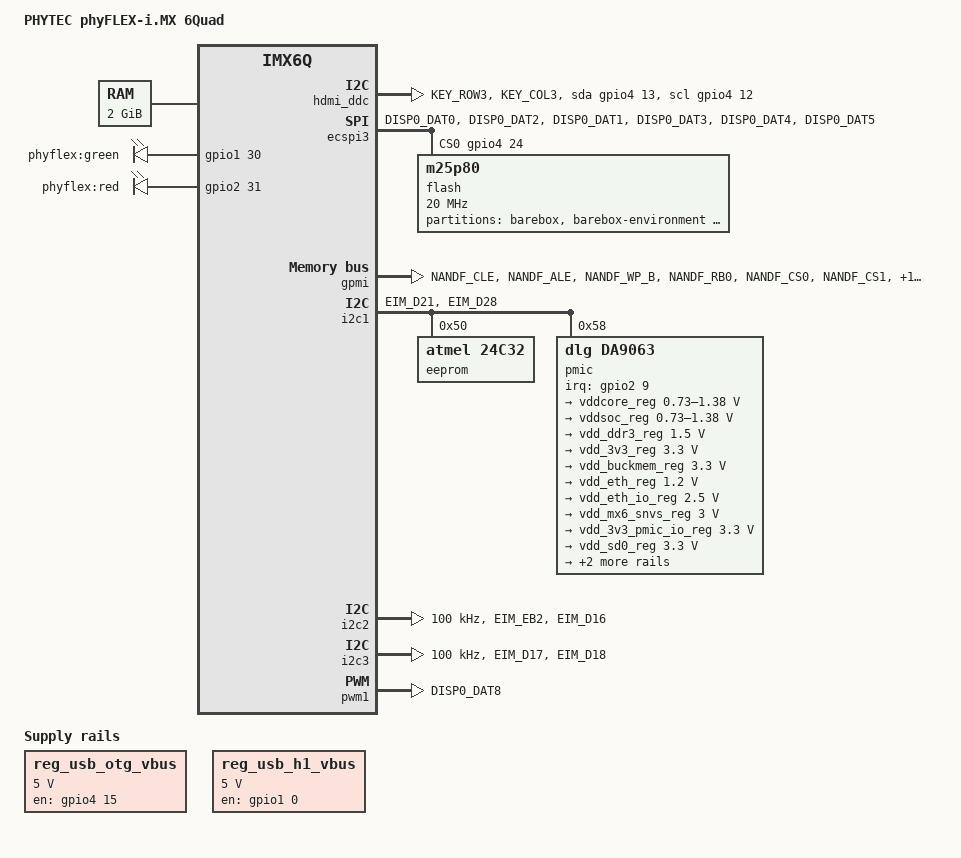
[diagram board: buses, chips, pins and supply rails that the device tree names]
// SPDX-License-Identifier: (GPL-2.0+ OR MIT)
/*
 * Copyright (C) 2018 PHYTEC Messtechnik GmbH
 * Author: Christian Hemp <c.hemp@phytec.de>
 */

#include <dt-bindings/gpio/gpio.h>

/ {
	model = "PHYTEC phyFLEX-i.MX 6Quad";
	compatible = "phytec,imx6q-pfla02", "fsl,imx6q";

	memory@10000000 {
		/*
		 * Set the minimum memory size here and
		 * let the bootloader set the real size.
		 */
		device_type = "memory";
		reg = <0x10000000 0x80000000>; /* 128 MiB memory */
		
	};

	aliases {
		i2c3 = &hdmi_ddc;
		rtc1 = &pmic;
		rtc2 = &snvs_rtc;
	};

	reg_usb_otg_vbus: regulator-usbotg-vbus {
		compatible = "regulator-fixed";
		regulator-name = "usb_otg_vbus";
		regulator-min-microvolt = <5000000>;
		regulator-max-microvolt = <5000000>;
		gpio = <&gpio4 15 0>;
		enable-active-high;
	};

	reg_usb_h1_vbus: regulator-usbh1-vbus {
		compatible = "regulator-fixed";
		regulator-name = "usb_h1_vbus";
		regulator-min-microvolt = <5000000>;
		regulator-max-microvolt = <5000000>;
		gpio = <&gpio1 0 0>;
		enable-active-high;
	};

	gpio_leds: leds {
		compatible = "gpio-leds";

		green {
			label = "phyflex:green";
			gpios = <&gpio1 30 0>;
		};

		red {
			label = "phyflex:red";
			gpios = <&gpio2 31 0>;
			linux,default-trigger = "heartbeat";
		};
	};

	hdmi_ddc: i2c-gpio-0 {
		compatible = "i2c-gpio";
		gpios = <&gpio4 13 0 /* sda */
			 &gpio4 12 0 /* scl */
			>;
		i2c-gpio,delay-us = <2>;
		#address-cells = <1>;
		#size-cells = <0>;
		pinctrl-names = "default";
		pinctrl-0 = <&pinctrl_i2c_gpio>;
		status = "okay";
	};
};

&audmux {
	pinctrl-names = "default";
	pinctrl-0 = <&pinctrl_audmux>;
	status = "disabled";
};

&can1 {
	pinctrl-names = "default";
	pinctrl-0 = <&pinctrl_flexcan1>;
	status = "disabled";
};

&cpu0 {
	fsl,tol = <5000>;
	arm-supply = <&vddcore_reg>;
	soc-supply = <&vddsoc_reg>;
};

/* SPI0 on module */
&ecspi3 {
	pinctrl-names = "default";
	pinctrl-0 = <&pinctrl_ecspi3>;
	status = "okay";
	fsl,spi-num-chipselects = <3>;
	cs-gpios = <&gpio4 24 GPIO_ACTIVE_HIGH
		&gpio4 25 GPIO_ACTIVE_HIGH
		&gpio4 26 GPIO_ACTIVE_HIGH>;

	flash@0 {
		compatible = "m25p80";
		spi-max-frequency = <20000000>;
		reg = <0>;

		#address-cells = <1>;
		#size-cells = <1>;

		partition@0 {
			label = "barebox";
			reg = <0x0 0x100000>;
		};

		partition@1 {
			label = "barebox-environment";
			reg = <0x100000 0x20000>;
		};

		partition@2 {
			label = "oftree";
			reg = <0x120000 0x20000>;
		};

		partition@3 {
			label = "kernel";
			reg = <0x140000 0x0>;
		};
	};
};

&fec {
	pinctrl-names = "default";
	pinctrl-0 = <&pinctrl_enet>;
	phy-handle = <&ethphy>;
	phy-mode = "rgmii";
	phy-reset-duration = <10>; /* in msecs */
	phy-reset-gpios = <&gpio3 23 GPIO_ACTIVE_LOW>;
	phy-reset-duration = <10>; /* in msecs */
	phy-supply = <&vdd_eth_io_reg>;
	status = "disabled";

	mdio {
		#address-cells = <1>;
		#size-cells = <0>;

		ethphy: ethernet-phy@3 {
			reg = <3>;
			txc-skew-ps = <1680>;
			rxc-skew-ps = <1860>;
		};
	};
};

&gpmi {
	pinctrl-names = "default";
	pinctrl-0 = <&pinctrl_gpmi_nand>;
	nand-on-flash-bbt;
	status = "okay";

	#address-cells = <1>;
	#size-cells = <1>;

	partition@0 {
		label = "barebox";
		reg = <0x0 0x400000>;
	};

	partition@1 {
		label = "barebox-environment";
		reg = <0x400000 0x100000>;
	};

	partition@2 {
		label = "root";
		reg = <0x500000 0x0>;
	};
};

/* i2c bus is on module only */
&i2c1 {
	pinctrl-names = "default";
	pinctrl-0 = <&pinctrl_i2c1>;
	status = "okay";

	eeprom: eeprom@50 {
		compatible = "atmel,24c32";
		reg = <0x50>;
	};

	pmic: pmic@58 {
		compatible = "dlg,da9063";
		reg = <0x58>;
		interrupt-parent = <&gpio2>;
		interrupts = <9 IRQ_TYPE_LEVEL_LOW>; /* active-low GPIO2_9 */

		regulators {
			vddcore_reg: bcore1 {
				regulator-min-microvolt = <730000>;
				regulator-max-microvolt = <1380000>;
				regulator-always-on;
			};

			vddsoc_reg: bcore2 {
				regulator-min-microvolt = <730000>;
				regulator-max-microvolt = <1380000>;
				regulator-always-on;
			};

			vdd_ddr3_reg: bpro {
				regulator-min-microvolt = <1500000>;
				regulator-max-microvolt = <1500000>;
				regulator-always-on;
			};

			vdd_3v3_reg: bperi {
				regulator-min-microvolt = <3300000>;
				regulator-max-microvolt = <3300000>;
				regulator-always-on;
			};

			vdd_buckmem_reg: bmem {
				regulator-min-microvolt = <3300000>;
				regulator-max-microvolt = <3300000>;
				regulator-always-on;
			};

			vdd_eth_reg: bio {
				regulator-min-microvolt = <1200000>;
				regulator-max-microvolt = <1200000>;
				regulator-always-on;
			};

			vdd_eth_io_reg: ldo4 {
				regulator-min-microvolt = <2500000>;
				regulator-max-microvolt = <2500000>;
				regulator-always-on;
			};

			vdd_mx6_snvs_reg: ldo5 {
				regulator-min-microvolt = <3000000>;
				regulator-max-microvolt = <3000000>;
				regulator-always-on;
			};

			vdd_3v3_pmic_io_reg: ldo6 {
				regulator-min-microvolt = <3300000>;
				regulator-max-microvolt = <3300000>;
				regulator-always-on;
			};

			vdd_sd0_reg: ldo9 {
				regulator-min-microvolt = <3300000>;
				regulator-max-microvolt = <3300000>;
				regulator-always-on;
			};

			vdd_sd1_reg: ldo10 {
				regulator-min-microvolt = <3300000>;
				regulator-max-microvolt = <3300000>;
			};

			vdd_mx6_high_reg: ldo11 {
				regulator-min-microvolt = <3000000>;
				regulator-max-microvolt = <3000000>;
				regulator-always-on;
			};
		};

		wdt {
			/* Watchdog also used as the system reset handler */
			compatible = "dlg,da9063-watchdog";
		};
	};
};

/* I2C0 on module and connector */
&i2c2 {
	pinctrl-names = "default";
	pinctrl-0 = <&pinctrl_i2c2>;
	clock-frequency = <100000>;
};

/* I2C1 on module and connector */
&i2c3 {
	pinctrl-names = "default";
	pinctrl-0 = <&pinctrl_i2c3>;
	clock-frequency = <100000>;
};

&iomuxc {
	pinctrl-names = "default";
	pinctrl-0 = <&pinctrl_hog>;

	imx6q-phytec-pfla02 {
		pinctrl_cam0data: cam0datagrp {
			fsl,pins = <
				MX6QDL_PAD_CSI0_DAT4__IPU1_CSI0_DATA04	0x0001B0B0
				MX6QDL_PAD_CSI0_DAT5__IPU1_CSI0_DATA05	0x0001B0B0
				MX6QDL_PAD_CSI0_DAT6__IPU1_CSI0_DATA06	0x0001B0B0
				MX6QDL_PAD_CSI0_DAT7__IPU1_CSI0_DATA07	0x0001B0B0
				MX6QDL_PAD_CSI0_DAT8__IPU1_CSI0_DATA08	0x0001B0B0
				MX6QDL_PAD_CSI0_DAT9__IPU1_CSI0_DATA09	0x0001B0B0
				MX6QDL_PAD_CSI0_DAT10__IPU1_CSI0_DATA10	0x0001B0B0
				MX6QDL_PAD_CSI0_DAT11__IPU1_CSI0_DATA11	0x0001B0B0
				MX6QDL_PAD_CSI0_DAT12__IPU1_CSI0_DATA12	0x0001B0B0
				MX6QDL_PAD_CSI0_DAT13__IPU1_CSI0_DATA13	0x0001B0B0
				MX6QDL_PAD_CSI0_DAT14__IPU1_CSI0_DATA14	0x0001B0B0
				MX6QDL_PAD_CSI0_DAT15__IPU1_CSI0_DATA15	0x0001B0B0
				MX6QDL_PAD_CSI0_DAT16__IPU1_CSI0_DATA16	0x0001B0B0
				MX6QDL_PAD_CSI0_DAT17__IPU1_CSI0_DATA17	0x0001B0B0
				MX6QDL_PAD_CSI0_DAT18__IPU1_CSI0_DATA18	0x0001B0B0
				MX6QDL_PAD_CSI0_DAT19__IPU1_CSI0_DATA19	0x0001B0B0
				MX6QDL_PAD_CSI0_MCLK__IPU1_CSI0_HSYNC	0x0001B0B0
				MX6QDL_PAD_CSI0_PIXCLK__IPU1_CSI0_PIXCLK 0x4001B0B0
				MX6QDL_PAD_CSI0_VSYNC__IPU1_CSI0_VSYNC	0x0001B0B0
			>;
		};

		pinctrl_cam0clk: cam0clkgrp {
			fsl,pins = <MX6QDL_PAD_GPIO_5__CCM_CLKO1	0x000000B9>;
		};

		pinctrl_cam0switch: cam0switchgrp {
			fsl,pins = <
				MX6QDL_PAD_ENET_RX_ER__GPIO1_IO24	0x0001B0B0
				MX6QDL_PAD_CSI0_DATA_EN__GPIO5_IO20	0x0001B050
			>;
		};

		pinctrl_hdmicec: hdmicecgrp {
			fsl,pins = <
				MX6QDL_PAD_EIM_A25__HDMI_TX_CEC_LINE	0x1f8b0
			>;
		};


		pinctrl_i2c_gpio: pinctrli2cgpiogrp {
			fsl,pins = <
				MX6QDL_PAD_KEY_ROW3__GPIO4_IO13		0x80000000
				MX6QDL_PAD_KEY_COL3__GPIO4_IO12		0x80000000
			>;
		};

		pinctrl_hog: hoggrp {
			fsl,pins = <
				MX6QDL_PAD_SD4_DAT1__GPIO2_IO09		0x80000000 /* PMIC interrupt */
				MX6QDL_PAD_ENET_TXD0__GPIO1_IO30	0x80000000 /* Green LED */
				MX6QDL_PAD_EIM_EB3__GPIO2_IO31		0x80000000 /* Red LED */
				MX6QDL_PAD_GPIO_8__GPIO1_IO08		0x80000000
				MX6QDL_PAD_DISP0_DAT14__GPIO5_IO08	0x80000000 /* GPIO00 */
				MX6QDL_PAD_DISP0_DAT13__GPIO5_IO07	0x80000000 /* GPIO01 */
				MX6QDL_PAD_DI0_PIN2__GPIO4_IO18		0x80000000 /* GPIO02 */
				MX6QDL_PAD_DI0_PIN3__GPIO4_IO19		0x80000000 /* GPIO03 */
				MX6QDL_PAD_GPIO_6__GPIO1_IO06		0x80000000 /* GPIO04 */
				MX6QDL_PAD_GPIO_9__GPIO1_IO09		0x80000000 /* GPIO05 */
/*				MX6QDL_PAD_GPIO_17__GPIO7_IO12		0x80000000*/ /* GPIO06 */
				MX6QDL_PAD_GPIO_18__GPIO7_IO13		0x80000000 /* GPIO07 */
				MX6QDL_PAD_GPIO_19__GPIO4_IO05		0x80000000 /* GPIO08 */
				MX6QDL_PAD_EIM_CS0__GPIO2_IO23		0x80000000 /* GPIO09 */
				MX6QDL_PAD_EIM_CS1__GPIO2_IO24		0x80000000 /* GPIO10 */
			>;
		};

		pinctrl_ecspi3: ecspi3grp {
			fsl,pins = <
				MX6QDL_PAD_DISP0_DAT0__ECSPI3_SCLK	0x100b1
				MX6QDL_PAD_DISP0_DAT2__ECSPI3_MISO	0x100b1
				MX6QDL_PAD_DISP0_DAT1__ECSPI3_MOSI	0x100b1
				MX6QDL_PAD_DISP0_DAT3__GPIO4_IO24	0x80000000
				MX6QDL_PAD_DISP0_DAT4__GPIO4_IO25	0x80000000
				MX6QDL_PAD_DISP0_DAT5__GPIO4_IO26	0x80000000
			>;
		};

		pinctrl_edt_ft5x06: edt_ft5x06grp {
			fsl,pins = <MX6QDL_PAD_GPIO_17__GPIO7_IO12	0x80000000>;
		};

		pinctrl_enet: enetgrp {
			fsl,pins = <
				MX6QDL_PAD_ENET_MDIO__ENET_MDIO		0x1b0b0
				MX6QDL_PAD_ENET_MDC__ENET_MDC		0x1b0b0
				MX6QDL_PAD_RGMII_TXC__RGMII_TXC		0x1b0b0
				MX6QDL_PAD_RGMII_TD0__RGMII_TD0		0x1b0b0
				MX6QDL_PAD_RGMII_TD1__RGMII_TD1		0x1b0b0
				MX6QDL_PAD_RGMII_TD2__RGMII_TD2		0x1b0b0
				MX6QDL_PAD_RGMII_TD3__RGMII_TD3		0x1b0b0
				MX6QDL_PAD_RGMII_TX_CTL__RGMII_TX_CTL	0x1b0b0
				MX6QDL_PAD_ENET_REF_CLK__ENET_TX_CLK	0x1b0b0
				MX6QDL_PAD_RGMII_RXC__RGMII_RXC		0x1b0b0
				MX6QDL_PAD_RGMII_RD0__RGMII_RD0		0x1b0b0
				MX6QDL_PAD_RGMII_RD1__RGMII_RD1		0x1b0b0
				MX6QDL_PAD_RGMII_RD2__RGMII_RD2		0x1b0b0
				MX6QDL_PAD_RGMII_RD3__RGMII_RD3		0x1b0b0
				MX6QDL_PAD_RGMII_RX_CTL__RGMII_RX_CTL	0x1b0b0
				MX6QDL_PAD_ENET_TX_EN__ENET_TX_EN	0x1b0b0
				MX6QDL_PAD_EIM_D23__GPIO3_IO23		0x80000000
			>;
		};

		pinctrl_flexcan1: flexcan1grp {
			fsl,pins = <
				MX6QDL_PAD_KEY_ROW2__FLEXCAN1_RX	0x1b0b0
				MX6QDL_PAD_KEY_COL2__FLEXCAN1_TX	0x1b0b0
			>;
		};

		pinctrl_gpmi_nand: gpminandgrp {
			fsl,pins = <
				MX6QDL_PAD_NANDF_CLE__NAND_CLE		0xb0b1
				MX6QDL_PAD_NANDF_ALE__NAND_ALE		0xb0b1
				MX6QDL_PAD_NANDF_WP_B__NAND_WP_B	0xb0b1
				MX6QDL_PAD_NANDF_RB0__NAND_READY_B	0xb000
				MX6QDL_PAD_NANDF_CS0__NAND_CE0_B	0xb0b1
				MX6QDL_PAD_NANDF_CS1__NAND_CE1_B	0xb0b1
				MX6QDL_PAD_SD4_CMD__NAND_RE_B		0xb0b1
				MX6QDL_PAD_SD4_CLK__NAND_WE_B		0xb0b1
				MX6QDL_PAD_NANDF_D0__NAND_DATA00	0xb0b1
				MX6QDL_PAD_NANDF_D1__NAND_DATA01	0xb0b1
				MX6QDL_PAD_NANDF_D2__NAND_DATA02	0xb0b1
				MX6QDL_PAD_NANDF_D3__NAND_DATA03	0xb0b1
				MX6QDL_PAD_NANDF_D4__NAND_DATA04	0xb0b1
				MX6QDL_PAD_NANDF_D5__NAND_DATA05	0xb0b1
				MX6QDL_PAD_NANDF_D6__NAND_DATA06	0xb0b1
				MX6QDL_PAD_NANDF_D7__NAND_DATA07	0xb0b1
				MX6QDL_PAD_SD4_DAT0__NAND_DQS		0x00b1
			>;
		};

		pinctrl_i2c1: i2c1grp {
			fsl,pins = <
				MX6QDL_PAD_EIM_D21__I2C1_SCL		0x4001b8b1
				MX6QDL_PAD_EIM_D28__I2C1_SDA		0x4001b8b1
			>;
		};

		pinctrl_i2c2: i2c2grp {
			fsl,pins = <
				MX6QDL_PAD_EIM_EB2__I2C2_SCL		0x4001b8b1
				MX6QDL_PAD_EIM_D16__I2C2_SDA		0x4001b8b1
			>;
		};

		pinctrl_i2c3: i2c3grp {
			fsl,pins = <
				MX6QDL_PAD_EIM_D17__I2C3_SCL		0x4001b8b1
				MX6QDL_PAD_EIM_D18__I2C3_SDA		0x4001b8b1
			>;
		};

		pinctrl_pcie: pciegrp {
			fsl,pins = <MX6QDL_PAD_DI0_PIN15__GPIO4_IO17	0x80000000>;
		};

		pinctrl_pwm1: pwm1grp {
			fsl,pins = <
				MX6QDL_PAD_DISP0_DAT8__PWM1_OUT		0x1b0b1
			>;
		};

		pinctrl_uart3: uart3grp {
			fsl,pins = <
				MX6QDL_PAD_EIM_D24__UART3_TX_DATA	0x1b0b1
				MX6QDL_PAD_EIM_D25__UART3_RX_DATA	0x1b0b1
				MX6QDL_PAD_EIM_D30__UART3_RTS_B		0x1b0b1
				MX6QDL_PAD_EIM_D31__UART3_CTS_B		0x1b0b1
			>;
		};

		pinctrl_uart4: uart4grp {
			fsl,pins = <
				MX6QDL_PAD_KEY_COL0__UART4_TX_DATA	0x1b0b1
				MX6QDL_PAD_KEY_ROW0__UART4_RX_DATA	0x1b0b1
			>;
		};

		pinctrl_usbh1: usbh1grp {
			fsl,pins = <
				MX6QDL_PAD_GPIO_0__GPIO1_IO00		0x80000000
				MX6QDL_PAD_GPIO_3__USB_H1_OC		0x1b0b0
			>;
		};

		pinctrl_usbotg: usbotggrp {
			fsl,pins = <
				MX6QDL_PAD_GPIO_1__USB_OTG_ID		0x17059
				MX6QDL_PAD_KEY_COL4__USB_OTG_OC		0x1b0b0
				MX6QDL_PAD_KEY_ROW4__GPIO4_IO15		0x80000000
			>;
		};

		pinctrl_usdhc2: usdhc2grp {
			fsl,pins = <
				MX6QDL_PAD_SD2_CMD__SD2_CMD		0x170f9
				MX6QDL_PAD_SD2_CLK__SD2_CLK		0x100f9
				MX6QDL_PAD_SD2_DAT0__SD2_DATA0		0x170f9
				MX6QDL_PAD_SD2_DAT1__SD2_DATA1		0x170f9
				MX6QDL_PAD_SD2_DAT2__SD2_DATA2		0x170f9
				MX6QDL_PAD_SD2_DAT3__SD2_DATA3		0x170f9
			>;
		};

		pinctrl_usdhc2_cdwp: usdhc2cdwp {
			fsl,pins = <
				MX6QDL_PAD_GPIO_4__GPIO1_IO04		0x80000000
				MX6QDL_PAD_GPIO_2__GPIO1_IO02		0x80000000
			>;
		};

		pinctrl_usdhc3: usdhc3grp {
			fsl,pins = <
				MX6QDL_PAD_SD3_CMD__SD3_CMD		0x17059
				MX6QDL_PAD_SD3_CLK__SD3_CLK		0x10059
				MX6QDL_PAD_SD3_DAT0__SD3_DATA0		0x17059
				MX6QDL_PAD_SD3_DAT1__SD3_DATA1		0x17059
				MX6QDL_PAD_SD3_DAT2__SD3_DATA2		0x17059
				MX6QDL_PAD_SD3_DAT3__SD3_DATA3		0x17059
			>;
		};

		pinctrl_usdhc3_100mhz: usdhc3grp100mhz {
			fsl,pins = <
				MX6QDL_PAD_SD3_CMD__SD3_CMD		0x170b9
				MX6QDL_PAD_SD3_CLK__SD3_CLK		0x100b9
				MX6QDL_PAD_SD3_DAT0__SD3_DATA0		0x170b9
				MX6QDL_PAD_SD3_DAT1__SD3_DATA1		0x170b9
				MX6QDL_PAD_SD3_DAT2__SD3_DATA2		0x170b9
				MX6QDL_PAD_SD3_DAT3__SD3_DATA3		0x170b9
			>;
		};

		pinctrl_usdhc3_200mhz: usdhc3grp200mhz {
			fsl,pins = <
				MX6QDL_PAD_SD3_CMD__SD3_CMD		0x170f9
				MX6QDL_PAD_SD3_CLK__SD3_CLK		0x100f9
				MX6QDL_PAD_SD3_DAT0__SD3_DATA0		0x170f9
				MX6QDL_PAD_SD3_DAT1__SD3_DATA1		0x170f9
				MX6QDL_PAD_SD3_DAT2__SD3_DATA2		0x170f9
				MX6QDL_PAD_SD3_DAT3__SD3_DATA3		0x170f9
			>;
		};

		pinctrl_usdhc3_cdwp: usdhc3cdwp {
			fsl,pins = <
				MX6QDL_PAD_ENET_RXD0__GPIO1_IO27	0x80000000
				MX6QDL_PAD_ENET_TXD1__GPIO1_IO29	0x80000000
			>;
		};

		pinctrl_audmux: audmuxgrp {
			fsl,pins = <
				MX6QDL_PAD_DISP0_DAT16__AUD5_TXC	0x130b0
				MX6QDL_PAD_DISP0_DAT17__AUD5_TXD	0x110b0
				MX6QDL_PAD_DISP0_DAT18__AUD5_TXFS	0x130b0
				MX6QDL_PAD_DISP0_DAT19__AUD5_RXD	0x130b0
			>;
		};
	};
};

&pcie {
	pinctrl-names = "default";
	pinctrl-0 = <&pinctrl_pcie>;
	reset-gpio = <&gpio4 17 0>;
	status = "disabled";
};

&pwm1 {
	pinctrl-names = "default";
	pinctrl-0 = <&pinctrl_pwm1>;
	status = "okay";
};

&reg_arm {
	regulator-allow-bypass;
};

&reg_pu {
	regulator-allow-bypass;
};

&reg_soc {
	regulator-allow-bypass;
};

&snvs_poweroff {
	status = "okay";
};

&uart3 {
	pinctrl-names = "default";
	pinctrl-0 = <&pinctrl_uart3>;
	status = "disabled";
};

&uart4 {
	pinctrl-names = "default";
	pinctrl-0 = <&pinctrl_uart4>;
	status = "disabled";
};

&usbh1 {
	vbus-supply = <&reg_usb_h1_vbus>;
	pinctrl-names = "default";
	pinctrl-0 = <&pinctrl_usbh1>;
	status = "disabled";
};

&usbotg {
	vbus-supply = <&reg_usb_otg_vbus>;
	pinctrl-names = "default";
	pinctrl-0 = <&pinctrl_usbotg>;
	disable-over-current;
	status = "disabled";
};

&usdhc2 {
	pinctrl-names = "default";
	pinctrl-0 = <&pinctrl_usdhc2
		     &pinctrl_usdhc2_cdwp>;
	cd-gpios = <&gpio1 4 GPIO_ACTIVE_LOW>;
	wp-gpios = <&gpio1 2 GPIO_ACTIVE_HIGH>;

	vmmc-supply = <&vdd_sd1_reg>;
	status = "disabled";
};

&usdhc3 {
	pinctrl-names = "default", "state_100mhz", "state_200mhz";
	pinctrl-0 = <&pinctrl_usdhc3
			&pinctrl_usdhc3_cdwp>;
	pinctrl-1 = <&pinctrl_usdhc3_100mhz
			&pinctrl_usdhc3_cdwp>;
	pinctrl-2 = <&pinctrl_usdhc3_200mhz
			&pinctrl_usdhc3_cdwp>;
	cd-gpios = <&gpio1 27 GPIO_ACTIVE_LOW>;
	wp-gpios = <&gpio1 29 GPIO_ACTIVE_HIGH>;
	no-1-8-v;

	vmmc-supply = <&vdd_sd0_reg>;
	status = "disabled";
};

&wdog1 {
	/*
	 * Rely on PMIC watchdog and reboot handler. Internal i.MX6 watchdog
	 * does not reset all external PMIC voltages on reset.
	 */
	status = "disabled";
};
